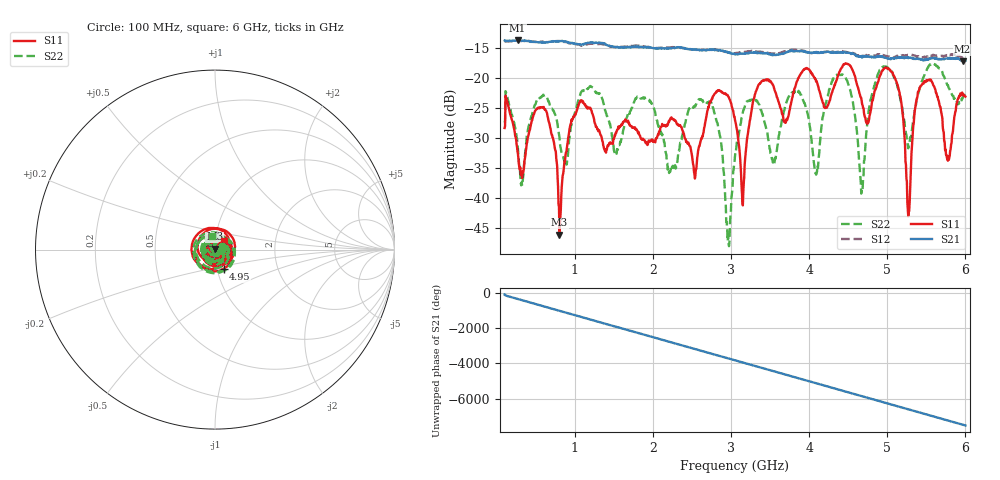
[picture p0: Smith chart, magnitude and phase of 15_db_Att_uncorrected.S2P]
!Created with skrf (http://scikit-rf.org).
# MHz S RI R 50.0
!freq ReS11 ImS11 ReS21 ImS21 ReS12 ImS12 ReS22 ImS22
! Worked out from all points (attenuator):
!   1001 points, 100 MHz to 6 GHz, reference 50 ohm
!   highest |S21| = -13.80 dB at 265.2 MHz (marker M1); lowest = -17.3 dB at 5.965 GHz (marker M2)
!   lowest |S11| = -46.1 dB at 802.1 MHz (marker M3), VSWR 1.01, Z = 49.9 + j0.479 ohm
!   |S11| at or under -10 dB: start of sweep to end of sweep
!   |S22| runs from -48.0 to -17.6 dB; largest |S21 - S12| = 0.18
!   S11 on the Smith chart (normalised r, x): 100 MHz: 1.07, +0.04; 4.95 GHz: 1.07, -0.24; 6 GHz: 1.11, +0.10
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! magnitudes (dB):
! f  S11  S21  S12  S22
! 100 MHz  -28.3  -13.8  -13.9  -27.4
! 265.2 MHz  -32.3  -13.8  -13.9  -30.9
! 607.4 MHz  -25.2  -14.2  -14.1  -22.9
! 802.1 MHz  -46.1  -13.9  -14.0  -29.9
! 1.085 GHz  -23.8  -14.5  -14.7  -22.3
! 2.071 GHz  -29.5  -15.1  -15.1  -28.2
! 2.537 GHz  -36.8  -15.3  -15.3  -24.6
! 2.743 GHz  -23.9  -15.3  -15.4  -24.2
! 2.967 GHz  -23.2  -15.8  -15.7  -47.5
! 3.05 GHz  -27.0  -16.1  -15.9  -33.1
! 3.15 GHz  -41.2  -16.0  -15.7  -25.9
! 3.363 GHz  -21.0  -15.9  -15.7  -24.5
! 4.035 GHz  -19.4  -15.8  -15.9  -31.2
! 4.436 GHz  -17.8  -15.8  -15.7  -19.6
! 4.678 GHz  -24.4  -16.7  -16.4  -38.6
! 4.95 GHz  -18.6  -16.6  -16.2  -18.1
! 5.021 GHz  -18.6  -16.9  -16.5  -18.5
! 5.268 GHz  -43.0  -16.8  -16.2  -31.7
! 5.422 GHz  -21.5  -16.9  -16.5  -21.5
! 5.77 GHz  -33.6  -16.8  -16.2  -21.2
! 5.965 GHz  -22.7  -17.3  -16.7  -23.4
! 6 GHz  -23.1  -17.2  -16.8  -22.5
